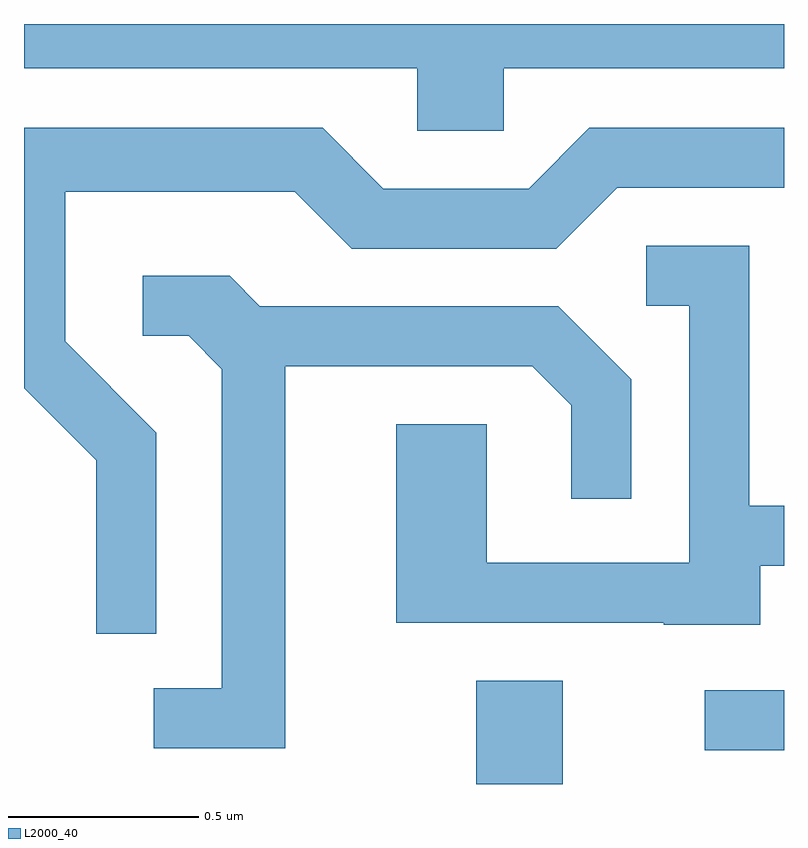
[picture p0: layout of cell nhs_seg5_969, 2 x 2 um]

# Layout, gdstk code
import gdstk
lib = gdstk.Library(unit=1e-6, precision=1e-09)
def R(c, l, rs):  # rectangles x0, y0, x1, y1
    for r in rs: c.add(gdstk.rectangle(r[:2], r[2:], *l))
def P(c, l, *ps):  # polygons
    for p in ps: c.add(gdstk.Polygon(p, *l))
L2000_40 = (2000, 40)

nhs_seg5_969 = lib.new_cell('nhs_seg5_969')
R(nhs_seg5_969, L2000_40, [(193.801,1406.072,194.029,1406.344), (194.403,1406.161,194.611,1406.319)])
P(nhs_seg5_969, L2000_40, [(193.874,1407.956),(194.611,1407.956),(194.611,1408.072),(192.611,1408.072),(192.611,1407.956),(193.646,1407.956),(193.646,1407.791),(193.874,1407.791)],
  [(192.959,1406.997),(192.719,1407.237),(192.719,1407.631),(193.324,1407.631),(193.474,1407.481),(194.012,1407.481),(194.172,1407.641),(194.611,1407.641),(194.611,1407.799),(194.099,1407.799),(193.939,1407.639),(193.557,1407.639),(193.397,1407.799),(192.611,1407.799),(192.611,1407.114),(192.801,1406.924),(192.801,1406.468),(192.959,1406.468)],
  [(194.549,1406.646),(194.611,1406.646),(194.611,1406.804),(194.519,1406.804),(194.519,1407.489),(194.248,1407.489),(194.248,1407.331),(194.361,1407.331),(194.361,1406.654),(193.829,1406.654),(193.829,1407.019),(193.591,1407.019),(193.591,1406.496),(194.295,1406.496),(194.295,1406.491),(194.549,1406.491)],
  [(193.299,1407.171),(193.949,1407.171),(194.051,1407.069),(194.051,1406.823),(194.209,1406.823),(194.209,1407.137),(194.017,1407.329),(193.232,1407.329),(193.152,1407.409),(192.923,1407.409),(192.923,1407.251),(193.044,1407.251),(193.131,1407.164),(193.131,1406.324),(192.953,1406.324),(192.953,1406.166),(193.299,1406.166)])

lib.write_gds('nhs_seg5_969.gds')
